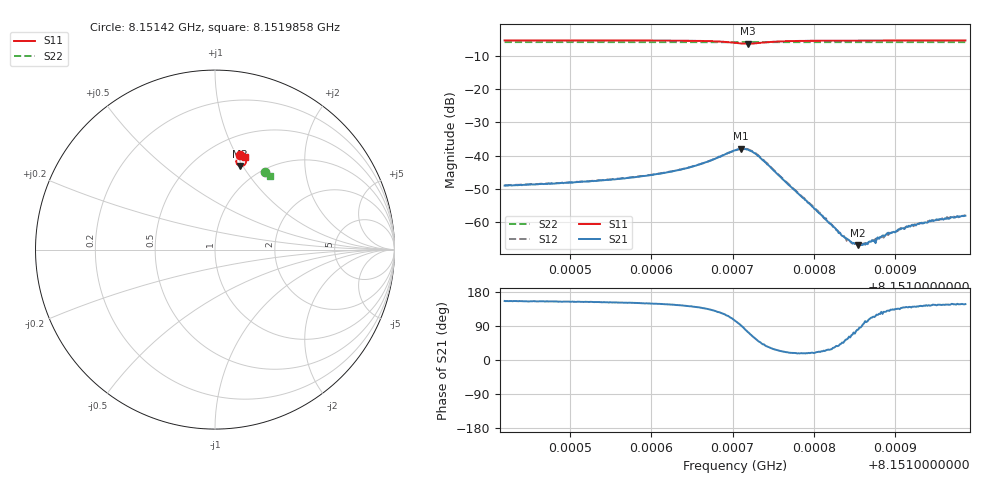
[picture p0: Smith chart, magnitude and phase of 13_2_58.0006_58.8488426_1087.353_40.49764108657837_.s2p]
#  HZ  S  RI  R  50.00
! Rohde & Schwarz Vector Network Analyzer
! Rohde-Schwarz,ZNB20-2Port,1311601062101988,3.16
! Created: UTC 3/21/2024, 12:50:52 AM
! freq[Hz]  re:S11  im:S11  re:S21  im:S21  re:S12  im:S12  re:S22  im:S22
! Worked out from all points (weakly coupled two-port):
!   401 points, 8.15142 GHz to 8.1519858 GHz, reference 50 ohm
!   highest |S21| = -37.90 dB at 8.15171 GHz (marker M1); lowest = -67.1 dB at 8.1518543 GHz (marker M2)
!   lowest |S11| = -6.3 dB at 8.1517185 GHz (marker M3), VSWR 2.89, Z = 39.7 + j48.5 ohm
!   |S11| at or under -10 dB: nowhere
!   |S22| runs from -5.8 to -5.8 dB; largest |S21 - S12| = 0.0004
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8.15142004e9  0.1378 0.5263  -0.00323 0.00145  -0.00326 0.00153  0.2783 0.4323
8.15151481e9  0.1466 0.5237  -0.00362 0.00181  -0.00362 0.00188  0.2835 0.4289
8.15156573e9  0.152 0.5215  -0.00397 0.00217  -0.00399 0.00225  0.2862 0.427
8.15160958e9  0.1583 0.5184  -0.00453 0.00281  -0.00454 0.0029  0.2886 0.425
8.15165484e9  0.1673 0.5102  -0.00541 0.00457  -0.0054 0.00466  0.291 0.423
8.15170294e9  0.1657 0.4734  -0.00281 0.0117  -0.00282 0.0117  0.2928 0.4198
8.15171001e9  0.1549 0.4666  -0.000384 0.0127  -0.000444 0.0126  0.2927 0.4197
8.1517185e9  0.1376 0.4662  0.0034 0.012  0.00336 0.012  0.2924 0.4197
8.15172698e9  0.1237 0.4759  0.00579 0.00925  0.00586 0.00934  0.2924 0.4199
8.15173406e9  0.1187 0.487  0.00632 0.00672  0.00656 0.00691  0.2928 0.4203
8.15179771e9  0.1397 0.5199  0.00161 0.000567  0.00168 0.000551  0.2972 0.4187
8.15183307e9  0.1474 0.5209  0.000474 0.000437  0.000499 0.000434  0.2994 0.4173
8.15184014e9  0.1487 0.5209  0.000326 0.000458  0.000342 0.000393  0.2996 0.4171
8.15184721e9  0.1499 0.5208  0.000183 0.000438  0.000203 0.000431  0.3001 0.4168
8.15185429e9  0.1508 0.5209  7.47e-05 0.000437  7.05e-05 0.000461  0.3005 0.4165
8.15185994e9  0.1515 0.5209  -3.14e-05 0.00045  -1.24e-05 0.000486  0.3008 0.4163
8.15186419e9  0.1523 0.5207  -8.32e-05 0.000472  -7.05e-05 0.000466  0.3011 0.4161
8.15187267e9  0.1534 0.5206  -0.000211 0.000468  -0.00022 0.000485  0.3015 0.4158
8.15189248e9  0.1558 0.5203  -0.000424 0.000514  -0.000433 0.000533  0.3025 0.4149
8.15190662e9  0.1574 0.5201  -0.000574 0.000532  -0.0006 0.000552  0.3032 0.4142
8.15193915e9  0.1608 0.5196  -0.000783 0.000588  -0.000821 0.000616  0.305 0.4131
8.15198583e9  0.1651 0.5187  -0.00105 0.000669  -0.00107 0.00069  0.3074 0.4111
